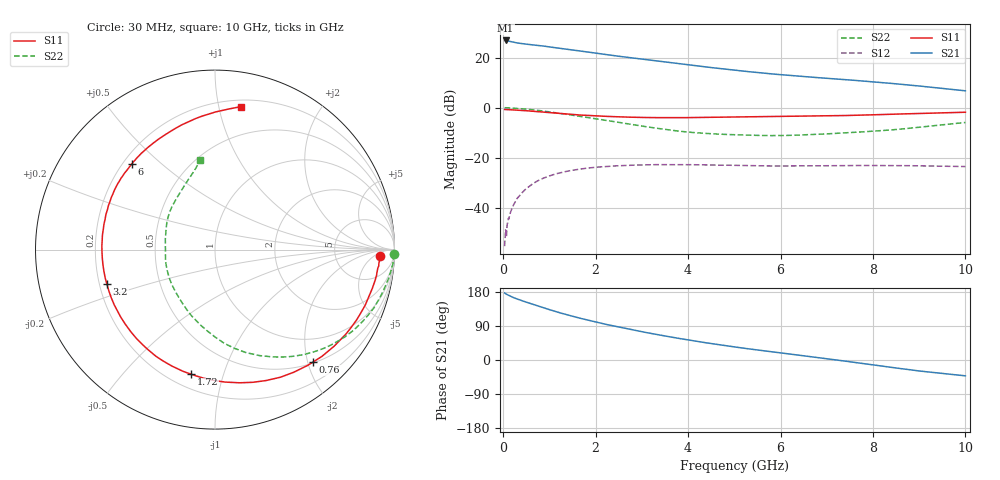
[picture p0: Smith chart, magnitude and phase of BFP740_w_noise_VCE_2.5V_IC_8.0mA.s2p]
! Infineon Technologies  Discrete & RF Semiconductors
! BFP740
! VCE =  2.5 V,  IC =  8.0 mA
! Common Emitter S-Parameters:  Jan 2016
# GHz  S  MA  R  50
!  f  S11  S21  S12  S22
! GHz  MAG  ANG  MAG  ANG  MAG  ANG  MAG  ANG
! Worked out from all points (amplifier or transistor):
!   229 points, 30 MHz to 10 GHz, reference 50 ohm
!   highest |S21| = 26.9 dB at 50 MHz (marker M1)
!   |S21| within 3 dB of that: start of sweep to 1.169 GHz
!   unconditionally stable (mu >= 1): 7.362 GHz to end of sweep
!   at 280 MHz: K = 0.13, MSG = 31.5 dB, |S12| = -37.0 dB
!   at 1.78 GHz: K = 0.29, MSG = 23.3 dB, |S12| = -24.3 dB
!   at 10 GHz: K = 1.10, MAG = 13.2 dB, |S12| = -23.6 dB
!   lowest NFmin = 0.48 dB at 450 MHz
!   S11 on the Smith chart (normalised r, x): 30 MHz: 20, -9; 760 MHz: 0.52, -2.10; 1.72 GHz: 0.28, -0.79; 3.2 GHz: 0.23, -0.15; 6 GHz: 0.24, +0.40; 10 GHz: 0.25, +1.17
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0.03  0.9192 -2.1  21.94 176.8  0.0017 89.4  0.9964 -1.4
0.05  0.9201 -3.6  22.05 175.5  0.0036 85.1  0.9973 -2.5
0.07  0.9162 -4.9  21.8 173.8  0.0026 97.4  0.9958 -3.3
0.12  0.9111 -8.4  21.33 170.2  0.0059 84.8  0.991 -5.8
0.24  0.8975 -16.4  20.21 163.8  0.0121 79.1  0.974 -11.2
0.45  0.8739 -29.7  18.9 154.6  0.0219 71.7  0.9431 -20.1
0.76  0.8313 -48.8  17.48 142.1  0.0349 61.4  0.8798 -32.4
0.9  0.8121 -57.3  16.92 136.5  0.0399 56.9  0.8475 -37.8
1.18  0.7711 -73.0  15.56 126.2  0.0486 48.1  0.7788 -48.0
1.4  0.7429 -84.7  14.6 118.7  0.0539 42.4  0.7278 -55.1
1.7  0.709 -100.0  13.43 109.1  0.0597 35.3  0.66 -64.2
1.72  0.707 -100.9  13.34 108.5  0.0601 34.9  0.6561 -64.8
2.32  0.6646 -128.2  11.22 91.5  0.0675 23.0  0.5389 -82.0
2.78  0.6435 -146.6  9.878 79.9  0.0705 15.6  0.4604 -94.4
3.2  0.6324 -162.2  8.837 70.0  0.072 9.7  0.4018 -106.7
3.4  0.6306 -169.0  8.38 65.6  0.0725 7.2  0.3788 -112.7
4.1  0.6325 169.7  7.005 51.0  0.0723 -0.6  0.3185 -134.9
5.1  0.6523 147.6  5.498 32.9  0.0698 -8.0  0.2857 -162.6
6  0.6648 134.2  4.568 18.8  0.0683 -11.9  0.2769 176.4
6.8  0.681 123.3  3.985 6.5  0.0688 -15.1  0.2924 159.2
8.4  0.7374 98.6  3.052 -19.5  0.0696 -23.1  0.359 126.1
10  0.8098 79.7  2.17 -41.8  0.0664 -29.0  0.5048 99.4
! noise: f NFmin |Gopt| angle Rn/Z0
0.45  0.48  0.29  9  0.17
0.9  0.49  0.29  15  0.17
1.5  0.51  0.28  23  0.16
1.9  0.54  0.27  41  0.16
2.4  0.56  0.27  46  0.15
3.5  0.67  0.24  62  0.14
5.5  0.86  0.19  -178  0.13
10  1.39  0.52  -77  0.17
